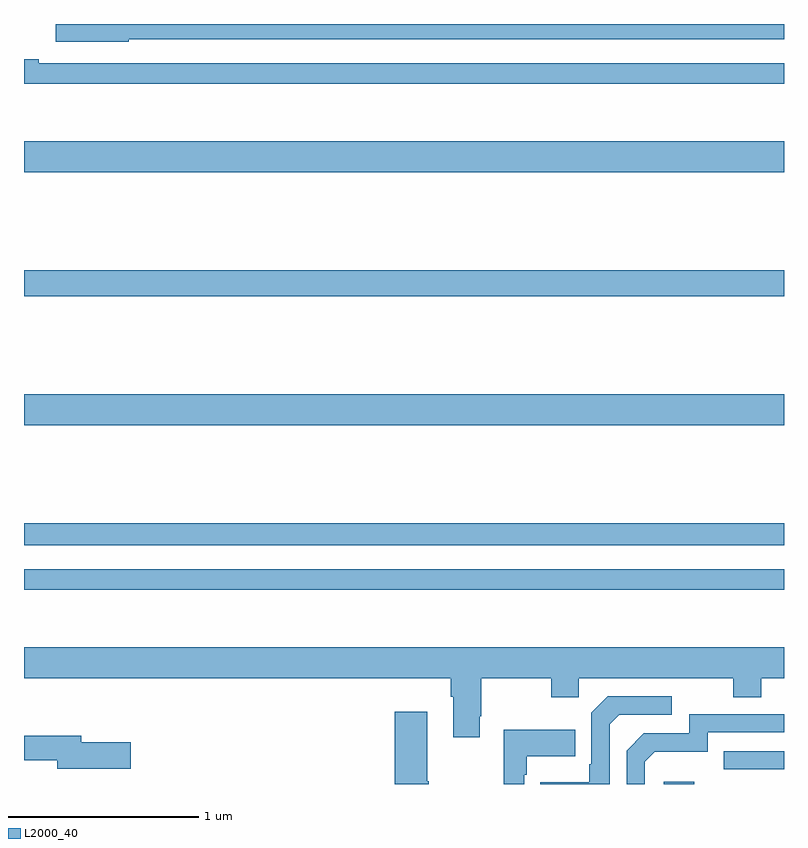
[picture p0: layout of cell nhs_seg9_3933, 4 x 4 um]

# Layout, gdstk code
import gdstk
lib = gdstk.Library(unit=1e-6, precision=1e-09)
def R(c, l, rs):  # rectangles x0, y0, x1, y1
    for r in rs: c.add(gdstk.rectangle(r[:2], r[2:], *l))
def P(c, l, *ps):  # polygons
    for p in ps: c.add(gdstk.Polygon(p, *l))
L2000_40 = (2000, 40)

nhs_seg9_3933 = lib.new_cell('nhs_seg9_3933')
R(nhs_seg9_3933, L2000_40, [(338.367,1226.5,338.528,1226.512), (338.683,1226.577,339,1226.673), (335,1227.522,339,1227.63), (335,1227.756,339,1227.872), (335,1228.388,339,1228.552), (335,1229.068,339,1229.204), (335,1229.72,339,1229.884)])
P(nhs_seg9_3933, L2000_40, [(335.55,1230.42),(339,1230.42),(339,1230.5),(335.166,1230.5),(335.166,1230.407),(335.55,1230.407)],
  [(339,1230.294),(335.078,1230.294),(335.078,1230.314),(335,1230.314),(335,1230.186),(339,1230.186)],
  [(337.399,1226.857),(337.407,1226.857),(337.407,1227.056),(337.774,1227.056),(337.774,1226.957),(337.92,1226.957),(337.92,1227.056),(338.734,1227.056),(338.734,1226.957),(338.881,1226.957),(338.881,1227.056),(339,1227.056),(339,1227.22),(335,1227.22),(335,1227.056),(337.247,1227.056),(337.247,1226.96),(337.259,1226.96),(337.259,1226.745),(337.399,1226.745)],
  [(338.082,1226.814),(338.133,1226.865),(338.41,1226.865),(338.41,1226.961),(338.073,1226.961),(337.986,1226.874),(337.986,1226.605),(337.974,1226.605),(337.974,1226.509),(337.717,1226.509),(337.717,1226.5),(338.082,1226.5)],
  [(337.131,1226.515),(337.123,1226.515),(337.123,1226.881),(336.95,1226.881),(336.95,1226.5),(337.131,1226.5)],
  [(338.268,1226.616),(338.321,1226.669),(338.598,1226.669),(338.598,1226.772),(339,1226.772),(339,1226.868),(338.502,1226.868),(338.502,1226.766),(338.262,1226.766),(338.172,1226.676),(338.172,1226.5),(338.268,1226.5)],
  [(337.632,1226.549),(337.645,1226.549),(337.645,1226.645),(337.901,1226.645),(337.901,1226.785),(337.524,1226.785),(337.524,1226.5),(337.632,1226.5)],
  [(335.563,1226.721),(335.302,1226.721),(335.302,1226.755),(335,1226.755),(335,1226.626),(335.174,1226.626),(335.174,1226.579),(335.563,1226.579)])

lib.write_gds('nhs_seg9_3933.gds')
